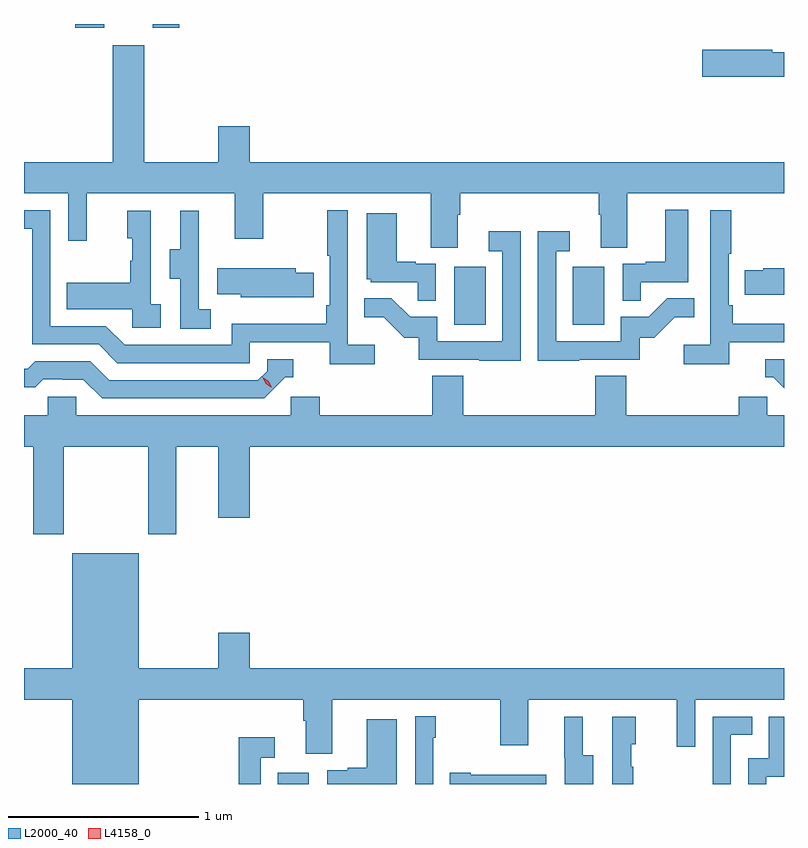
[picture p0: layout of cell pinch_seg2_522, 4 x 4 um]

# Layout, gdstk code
import gdstk
lib = gdstk.Library(unit=1e-6, precision=1e-09)
def R(c, l, rs):  # rectangles x0, y0, x1, y1
    for r in rs: c.add(gdstk.rectangle(r[:2], r[2:], *l))
def P(c, l, *ps):  # polygons
    for p in ps: c.add(gdstk.Polygon(p, *l))
L2000_40 = (2000, 40)
L4158_0 = (4158, 0)

pinch_seg2_522 = lib.new_cell('pinch_seg2_522')
R(pinch_seg2_522, L2000_40, [(992.492,600.572,992.656,600.631), (993.422,602.988,993.586,603.295), (994.046,602.988,994.21,603.295), (991.427,604.551,991.579,604.572), (991.835,604.551,991.975,604.572)])
P(pinch_seg2_522, L2000_40, [(995.157,604.423),(995.096,604.423),(995.096,604.436),(994.728,604.436),(994.728,604.294),(995.157,604.294)],
  [(992.344,604.033),(992.18,604.033),(992.18,603.844),(991.789,603.844),(991.789,604.459),(991.625,604.459),(991.625,603.844),(991.157,603.844),(991.157,603.68),(991.389,603.68),(991.389,603.432),(991.487,603.432),(991.487,603.68),(992.267,603.68),(992.267,603.441),(992.415,603.441),(992.415,603.68),(993.299,603.68),(993.299,603.394),(993.439,603.394),(993.439,603.568),(993.452,603.568),(993.452,603.68),(994.181,603.68),(994.181,603.568),(994.193,603.568),(994.193,603.394),(994.333,603.394),(994.333,603.68),(995.157,603.68),(995.157,603.844),(992.344,603.844)],
  [(994.403,603.213),(994.654,603.213),(994.654,603.595),(994.532,603.595),(994.532,603.322),(994.429,603.322),(994.429,603.309),(994.308,603.309),(994.308,603.115),(994.403,603.115)],
  [(994.868,602.898),(995.157,602.898),(995.157,602.995),(994.886,602.995),(994.886,603.091),(994.866,603.091),(994.866,603.364),(994.879,603.364),(994.879,603.592),(994.77,603.592),(994.77,602.884),(994.629,602.884),(994.629,602.782),(994.868,602.782)],
  [(993.004,602.884),(992.862,602.884),(992.862,603.592),(992.754,603.592),(992.754,603.352),(992.766,603.352),(992.766,603.091),(992.749,603.091),(992.749,602.995),(992.25,602.995),(992.25,602.883),(991.686,602.883),(991.587,602.982),(991.296,602.982),(991.296,603.591),(991.157,603.591),(991.157,603.495),(991.2,603.495),(991.2,602.886),(991.55,602.886),(991.649,602.787),(992.346,602.787),(992.346,602.898),(992.765,602.898),(992.765,602.782),(993.004,602.782)],
  [(991.876,603.098),(991.824,603.098),(991.824,603.589),(991.7,603.589),(991.7,603.444),(991.726,603.444),(991.726,603.326),(991.716,603.326),(991.716,603.211),(991.381,603.211),(991.381,603.071),(991.728,603.071),(991.728,602.973),(991.876,602.973)],
  [(992.14,603.071),(992.076,603.071),(992.076,603.375),(992.078,603.375),(992.078,603.589),(991.979,603.589),(991.979,603.387),(991.925,603.387),(991.925,603.232),(991.98,603.232),(991.98,602.968),(992.14,602.968)],
  [(993.324,603.309),(993.218,603.309),(993.218,603.322),(993.118,603.322),(993.118,603.577),(992.96,603.577),(992.96,603.228),(992.982,603.228),(992.982,603.213),(993.229,603.213),(993.229,603.115),(993.324,603.115)],
  [(994.079,602.805),(994.398,602.805),(994.398,602.922),(994.474,602.922),(994.581,603.029),(994.685,603.029),(994.685,603.128),(994.542,603.128),(994.444,603.03),(994.299,603.03),(994.299,602.901),(993.957,602.901),(993.957,603.375),(994.03,603.375),(994.03,603.481),(993.861,603.481),(993.861,602.8),(994.079,602.8)],
  [(993.771,603.481),(993.603,603.481),(993.603,603.375),(993.675,603.375),(993.675,602.901),(993.333,602.901),(993.333,603.03),(993.189,603.03),(993.091,603.128),(992.947,603.128),(992.947,603.029),(993.051,603.029),(993.158,602.922),(993.235,602.922),(993.235,602.805),(993.553,602.805),(993.553,602.8),(993.771,602.8)],
  [(995.157,603.286),(995.049,603.286),(995.049,603.276),(994.951,603.276),(994.951,603.146),(995.157,603.146)],
  [(992.57,603.135),(992.681,603.135),(992.681,603.264),(992.587,603.264),(992.587,603.286),(992.173,603.286),(992.173,603.149),(992.298,603.149),(992.298,603.134),(992.57,603.134)],
  [(995.157,602.808),(995.057,602.808),(995.057,602.712),(995.1,602.712),(995.157,602.655)],
  [(992.532,602.712),(992.575,602.712),(992.575,602.808),(992.436,602.808),(992.436,602.745),(992.388,602.697),(991.605,602.697),(991.506,602.796),(991.217,602.796),(991.178,602.757),(991.157,602.757),(991.157,602.661),(991.217,602.661),(991.259,602.703),(991.362,602.703),(991.362,602.7),(991.469,602.7),(991.568,602.601),(992.421,602.601)],
  [(991.365,602.348),(991.81,602.348),(991.81,601.887),(991.957,601.887),(991.957,602.348),(992.18,602.348),(992.18,601.974),(992.344,601.974),(992.344,602.348),(995.157,602.348),(995.157,602.512),(995.07,602.512),(995.07,602.61),(994.919,602.61),(994.919,602.512),(994.328,602.512),(994.328,602.72),(994.163,602.72),(994.163,602.512),(993.47,602.512),(993.47,602.72),(993.305,602.72),(993.305,602.512),(992.714,602.512),(992.714,602.61),(992.562,602.61),(992.562,602.512),(991.431,602.512),(991.431,602.61),(991.281,602.61),(991.281,602.512),(991.157,602.512),(991.157,602.348),(991.205,602.348),(991.205,601.887),(991.365,601.887)],
  [(991.762,601.016),(992.627,601.016),(992.627,600.904),(992.639,600.904),(992.639,600.73),(992.779,600.73),(992.779,601.016),(993.664,601.016),(993.664,600.777),(993.811,600.777),(993.811,601.016),(994.592,601.016),(994.592,600.768),(994.689,600.768),(994.689,601.016),(995.157,601.016),(995.157,601.18),(992.344,601.18),(992.344,601.369),(992.18,601.369),(992.18,601.18),(991.762,601.18),(991.762,601.786),(991.412,601.786),(991.412,601.18),(991.157,601.18),(991.157,601.016),(991.412,601.016),(991.412,600.572),(991.762,600.572)],
  [(993.312,600.815),(993.325,600.815),(993.325,600.928),(993.216,600.928),(993.216,600.572),(993.312,600.572)],
  [(995.064,600.611),(995.157,600.611),(995.157,600.927),(995.076,600.927),(995.076,600.708),(994.968,600.708),(994.968,600.572),(995.064,600.572)],
  [(994.878,600.831),(994.991,600.831),(994.991,600.927),(994.782,600.927),(994.782,600.572),(994.878,600.572)],
  [(994.363,600.662),(994.353,600.662),(994.353,600.78),(994.378,600.78),(994.378,600.925),(994.254,600.925),(994.254,600.572),(994.363,600.572)],
  [(994.153,600.723),(994.099,600.723),(994.099,600.925),(994.001,600.925),(994.001,600.711),(994.002,600.711),(994.002,600.572),(994.153,600.572)],
  [(993.118,600.913),(992.96,600.913),(992.96,600.658),(992.861,600.658),(992.861,600.645),(992.754,600.645),(992.754,600.572),(993.118,600.572)],
  [(992.403,600.711),(992.476,600.711),(992.476,600.817),(992.287,600.817),(992.287,600.572),(992.403,600.572)],
  [(993.905,600.622),(993.508,600.622),(993.508,600.63),(993.397,600.63),(993.397,600.572),(993.905,600.572)])
P(pinch_seg2_522, L4158_0, [(992.459,602.659),(992.429,602.679),(992.413,602.712),(992.413,602.712),(992.413,602.712),(992.444,602.692),(992.46,602.66),(992.46,602.659)])

lib.write_gds('pinch_seg2_522.gds')
